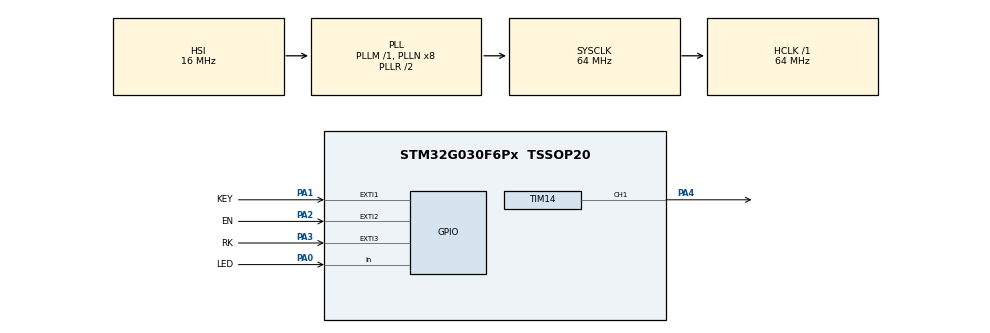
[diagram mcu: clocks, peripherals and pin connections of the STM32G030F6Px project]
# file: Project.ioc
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Mcu.Family=STM32G0
Mcu.Name=STM32G030F6Px
Mcu.Package=TSSOP20
NVIC.EXTI2_3_IRQn=true\:0\:0\:false\:false\:true\:true\:true\:true
PA0.GPIO_Label=LED
PA0.Signal=GPIO_Input
PA1.GPIO_Label=KEY
PA1.GPIO_ModeDefaultEXTI=GPIO_MODE_IT_FALLING
PA1.GPIO_PuPd=GPIO_PULLUP
PA1.Signal=GPXTI1
PA13.Mode=Serial_Wire
PA13.Signal=SYS_SWDIO
PA14-BOOT0.Mode=Serial_Wire
PA14-BOOT0.Signal=SYS_SWCLK
PA14-BOOT0__PA15.StandardMode=true
PA2.GPIO_Label=EN
PA2.GPIO_ModeDefaultEXTI=GPIO_MODE_IT_RISING_FALLING
PA2.GPIO_PuPd=GPIO_PULLDOWN
PA2.Signal=GPXTI2
PA3.GPIO_Label=RK
PA3.GPIO_ModeDefaultEXTI=GPIO_MODE_IT_RISING_FALLING
PA3.GPIO_PuPd=GPIO_PULLDOWN
PA3.Signal=GPXTI3
PA4.Signal=S_TIM14_CH1
PB0__PB1__PB2__PA8.StandardMode=true
PB3__PB4__PB5__PB6.StandardMode=true
PB7__PB8.StandardMode=true
PC14-OSC32_IN\ (PC14).Mode=LSE-External-Oscillator
PC14-OSC32_IN\ (PC14).Signal=RCC_OSC32_IN
PC14-OSC32_IN\ (PC14)__PB9.StandardMode=true
PC15-OSC32_OUT\ (PC15).Mode=LSE-External-Oscillator
PC15-OSC32_OUT\ (PC15).Signal=RCC_OSC32_OUT
ProjectManager.HeapSize=0x200
ProjectManager.StackSize=0x400
ProjectManager.TargetToolchain=MDK-ARM V5.32
RCC.ADCFreq_Value=64000000
RCC.AHBFreq_Value=64000000
RCC.CortexFreq_Value=64000000
RCC.EXTERNAL_CLOCK_VALUE=12288000
RCC.HCLKFreq_Value=64000000
RCC.HSE_VALUE=8000000
RCC.HSI_VALUE=16000000
RCC.SYSCLKFreq_VALUE=64000000
RCC.SYSCLKSource=RCC_SYSCLKSOURCE_PLLCLK
RCC.VCOOutputFreq_Value=128000000
SH.S_TIM14_CH1.0=TIM14_CH1,PWM Generation1 CH1
TIM14.Channel=TIM_CHANNEL_1
TIM14.Period=400-1
TIM14.Prescaler=32-1
TIM14.Pulse=0
VP_TIM14_VS_ClockSourceINT.Mode=Enable_Timer
board=custom

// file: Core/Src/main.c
/* USER CODE BEGIN Header */
/**
  ******************************************************************************
  * @file           : main.c
  * @brief          : Main program body
  ******************************************************************************
  * @attention
  *
  * Copyright (c) 2023 STMicroelectronics.
  * All rights reserved.
  *
  * This software is licensed under terms that can be found in the LICENSE file
  * in the root directory of this software component.
  * If no LICENSE file comes with this software, it is provided AS-IS.
  *
  ******************************************************************************
  */
/* USER CODE END Header */
#include "main.h"
#include "tim.h"
#include "gpio.h"

/* USER CODE BEGIN PTD */
#define BREATH_INTERVAL 10

/* USER CODE END PTD */

/* USER CODE BEGIN PV */
uint8_t mode = 0;
uint8_t lightness = 1;
uint8_t direction = 1;
uint32_t brightness = 0;
uint32_t speed_time = 0;
uint32_t pressed_tick = 0;

/* USER CODE END PV */

void SystemClock_Config(void);

int main(void)
{
  /* USER CODE BEGIN 1 */
  uint32_t limit;

  /* USER CODE END 1 */

  /* MCU Configuration--------------------------------------------------------*/

  /* Reset of all peripherals, Initializes the Flash interface and the Systick. */
  HAL_Init();

  /* Configure the system clock */
  SystemClock_Config();

  /* Initialize all configured peripherals */
  MX_GPIO_Init();
  MX_TIM14_Init();
  /* USER CODE BEGIN 2 */
  HAL_TIM_PWM_Start(&htim14, TIM_CHANNEL_1);
  mode = HAL_GPIO_ReadPin(EN_GPIO_Port, EN_Pin) == GPIO_PIN_RESET ? 1 : 0;

  /* USER CODE END 2 */

  /* Infinite loop */
  while (1)
  {

    /* USER CODE BEGIN 3 */
    if (mode == 1)
    {
      __HAL_TIM_SET_COMPARE(&htim14, TIM_CHANNEL_1, brightness);

      if (direction) {
        brightness++;
        limit = __HAL_TIM_GET_AUTORELOAD(&htim14) * (lightness ? 100 : 40) / 100;
        if (brightness > limit) {
          direction = 0;
        }
      } else {
        brightness--;
        limit = __HAL_TIM_GET_AUTORELOAD(&htim14) * (lightness ? 30 : 5) / 100;
        if (brightness == limit) {
          direction = 1;
        }
      }

      if (lightness)
      {
        speed_time += lightness ? 10 : 20;

        if (speed_time > 1000*60*60*2)
        {
          lightness = 0;
        }
      }

      HAL_Delay(lightness ? 10 : 20);
    }
    else
    {
      HAL_Delay(1000);
    }
  }
  /* USER CODE END 3 */
}

void SystemClock_Config(void)
{
  RCC_OscInitTypeDef RCC_OscInitStruct = {0};
  RCC_ClkInitTypeDef RCC_ClkInitStruct = {0};

  /** Configure the main internal regulator output voltage
  */
  HAL_PWREx_ControlVoltageScaling(PWR_REGULATOR_VOLTAGE_SCALE1);

  /** Initializes the RCC Oscillators according to the specified parameters
  * in the RCC_OscInitTypeDef structure.
  */
  RCC_OscInitStruct.OscillatorType = RCC_OSCILLATORTYPE_HSI;
  RCC_OscInitStruct.HSIState = RCC_HSI_ON;
  RCC_OscInitStruct.HSIDiv = RCC_HSI_DIV1;
  RCC_OscInitStruct.HSICalibrationValue = RCC_HSICALIBRATION_DEFAULT;
  RCC_OscInitStruct.PLL.PLLState = RCC_PLL_ON;
  RCC_OscInitStruct.PLL.PLLSource = RCC_PLLSOURCE_HSI;
  RCC_OscInitStruct.PLL.PLLM = RCC_PLLM_DIV1;
  RCC_OscInitStruct.PLL.PLLN = 8;
  RCC_OscInitStruct.PLL.PLLP = RCC_PLLP_DIV2;
  RCC_OscInitStruct.PLL.PLLR = RCC_PLLR_DIV2;
  if (HAL_RCC_OscConfig(&RCC_OscInitStruct) != HAL_OK)
  {
    Error_Handler();
  }

  /** Initializes the CPU, AHB and APB buses clocks
  */
  RCC_ClkInitStruct.ClockType = RCC_CLOCKTYPE_HCLK|RCC_CLOCKTYPE_SYSCLK
                              |RCC_CLOCKTYPE_PCLK1;
  RCC_ClkInitStruct.SYSCLKSource = RCC_SYSCLKSOURCE_PLLCLK;
  RCC_ClkInitStruct.AHBCLKDivider = RCC_SYSCLK_DIV1;
  RCC_ClkInitStruct.APB1CLKDivider = RCC_HCLK_DIV1;

  if (HAL_RCC_ClockConfig(&RCC_ClkInitStruct, FLASH_LATENCY_2) != HAL_OK)
  {
    Error_Handler();
  }
}

/* USER CODE BEGIN 4 */
void HAL_GPIO_EXTI_Rising_Callback(uint16_t GPIO_Pin)
{
  if (GPIO_Pin == EN_Pin)
  {
    mode = 0;
    __HAL_TIM_SET_COMPARE(&htim14, TIM_CHANNEL_1, 0);
  }
  if (GPIO_Pin == RK_Pin) {
    pressed_tick = HAL_GetTick();
  }
}

void HAL_GPIO_EXTI_Falling_Callback(uint16_t GPIO_Pin)
{
  if (GPIO_Pin == EN_Pin)
  {
    if (mode != 1)
    {
      mode = 1;
      lightness = 1;
      direction = 1;
      brightness = 0;
      speed_time = 0;
      __HAL_TIM_SET_COMPARE(&htim14, TIM_CHANNEL_1, 0);
    }
  }

  if (GPIO_Pin == RK_Pin) {
    if (HAL_GetTick()-pressed_tick > 500)
    {
      ++mode;
      mode = mode > 2 ? 0 : mode;
      lightness = 1;
      direction = 1;
      brightness = 0;
      __HAL_TIM_SET_COMPARE(&htim14, TIM_CHANNEL_1, mode == 2 ? __HAL_TIM_GET_AUTORELOAD(&htim14) : 0);
    }
  }
}

/* USER CODE END 4 */

void Error_Handler(void)
{
  __disable_irq();
  while (1)
  {
  }
}
